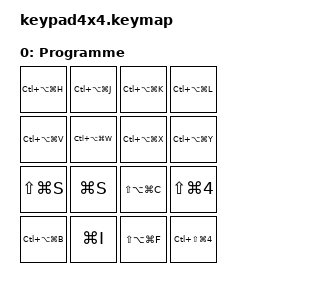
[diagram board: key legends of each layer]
#include <behaviors.dtsi>
#include <dt-bindings/zmk/keys.h>

/*
 * Belegung nach Vorgabe, Tasten von oben links nach rechts durchnummeriert
 * (0 bis 15):
 *
 *    0  Strg+Alt+Befehl+H      8  Umschalt+Befehl+S
 *    1  Strg+Alt+Befehl+J      9  Befehl+S
 *    2  Strg+Alt+Befehl+K     10  Umschalt+Alt+Befehl+C
 *    3  Strg+Alt+Befehl+L     11  Umschalt+Befehl+4
 *    4  Strg+Alt+Befehl+V     12  Strg+Alt+Befehl+B
 *    5  Strg+Alt+Befehl+W     13  Befehl+I
 *    6  Strg+Alt+Befehl+X     14  Umschalt+Alt+Befehl+F
 *    7  Strg+Alt+Befehl+Y     15  Strg+Umschalt+Befehl+4
 *
 * Die Modifikatoren heißen in ZMK LC (Strg links), LS (Umschalt links),
 * LA (Alt links) und LG (Befehl links). Geschachtelt ergibt LC(LA(LG(H)))
 * also Strg+Alt+Befehl+H. Ziffern heißen N0 bis N9.
 *
 * Drei dieser Kürzel sind am Mac bereits vergeben und lösen zusätzlich die
 * Systemfunktion aus: Umschalt+Befehl+4 und Strg+Umschalt+Befehl+4 machen
 * Bildschirmfotos, Befehl+I zeigt in vielen Programmen die Informationen.
 * Das ist hier vermutlich beabsichtigt.
 *
 * ACHTUNG: Diese Datei wirkt erst, wenn in ZMK Studio einmal
 * "Restore Stock Settings" ausgelöst wurde. Sonst gilt weiter die im Keypad
 * gespeicherte Belegung, und zwar auch nach jedem neuen Flashen.
 *
 * Umbelegen danach wie gehabt im Browser: https://zmk.studio
 */

/ {
	behaviors {
		/*
		 * Halten = Bootloader, kurz antippen = nichts. Die beiden Werte hinter
		 * &lang_bootloader sind Platzhalter, weil weder &bootloader noch &none
		 * einen Wert brauchen.
		 */
		lang_bootloader: lang_bootloader {
			compatible = "zmk,behavior-hold-tap";
			#binding-cells = <2>;
			display-name = "Bootloader (halten)";
			flavor = "tap-preferred";
			tapping-term-ms = <2000>;
			bindings = <&bootloader>, <&none>;
		};
	};

	combos {
		compatible = "zmk,combos";

		/*
		 * Taste 0 und 1 gleichzeitig druecken und zwei Sekunden halten:
		 * Das Pad springt in den Bootloader, das Laufwerk NICENANO erscheint.
		 * Ersetzt die Bruecke zwischen RST und GND.
		 */
		combo_bootloader {
			timeout-ms = <50>;
			key-positions = <0 1>;
			bindings = <&lang_bootloader 0 0>;
		};
	};

	keymap {
		compatible = "zmk,keymap";

		base_layer {
			display-name = "Programme";
			bindings = <
				&kp LC(LA(LG(H)))  &kp LC(LA(LG(J)))  &kp LC(LA(LG(K)))  &kp LC(LA(LG(L)))
				&kp LC(LA(LG(V)))  &kp LC(LA(LG(W)))  &kp LC(LA(LG(X)))  &kp LC(LA(LG(Y)))
				&kp LS(LG(S))      &kp LG(S)          &kp LS(LA(LG(C)))  &kp LS(LG(N4))
				&kp LC(LA(LG(B)))  &kp LG(I)          &kp LS(LA(LG(F)))  &kp LC(LS(LG(N4)))
			>;
		};

		/* Reserve für Studio: hier lassen sich später Ebenen anlegen */
		extra_1 { status = "reserved"; };
		extra_2 { status = "reserved"; };
	};
};
